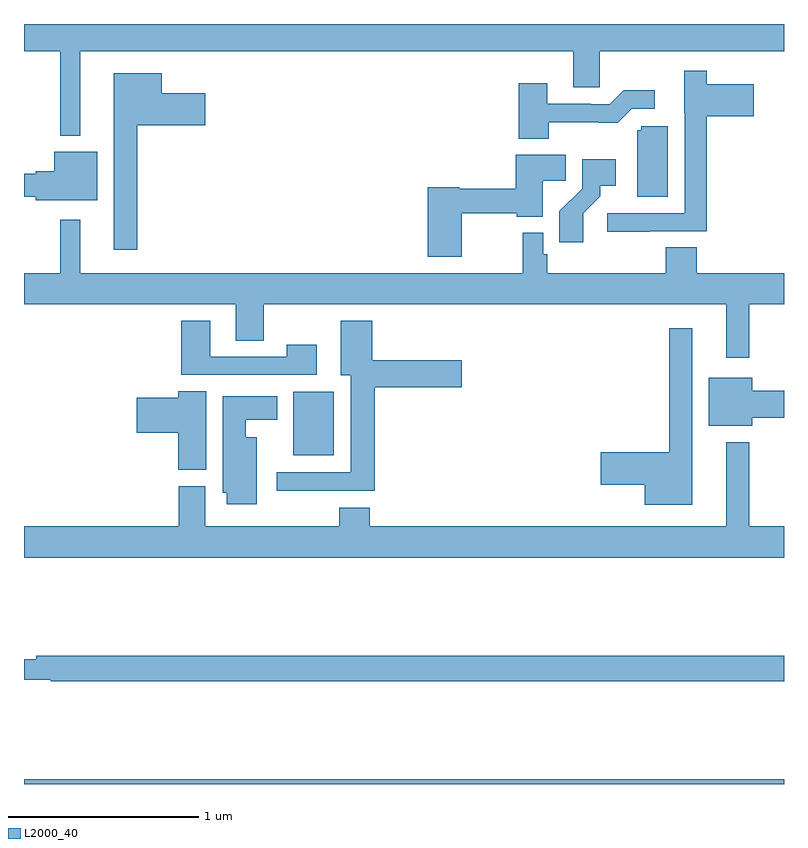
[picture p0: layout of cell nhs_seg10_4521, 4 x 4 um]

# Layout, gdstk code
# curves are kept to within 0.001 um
import gdstk
lib = gdstk.Library(unit=1e-6, precision=1e-09)
def R(c, l, rs):  # rectangles x0, y0, x1, y1
    for r in rs: c.add(gdstk.rectangle(r[:2], r[2:], *l))
def P(c, l, *ps):  # polygons
    for p in ps: c.add(gdstk.Polygon(p, *l))
L2000_40 = (2000, 40)

nhs_seg10_4521 = lib.new_cell('nhs_seg10_4521')
R(nhs_seg10_4521, L2000_40, [(369,1256.5,373,1256.524), (370.418,1258.229,370.63,1258.564)])
P(nhs_seg10_4521, L2000_40, [(369.295,1260.356),(371.891,1260.356),(371.891,1260.166),(372.03,1260.166),(372.03,1260.356),(373,1260.356),(373,1260.5),(369,1260.5),(369,1260.356),(369.191,1260.356),(369.191,1259.912),(369.295,1259.912)],
  [(372.293,1259.409),(372.593,1259.409),(372.593,1260.014),(372.841,1260.014),(372.841,1260.184),(372.593,1260.184),(372.593,1260.253),(372.476,1260.253),(372.476,1260.03),(372.477,1260.03),(372.477,1259.505),(372.069,1259.505),(372.069,1259.407),(372.293,1259.407)],
  [(369.595,1259.966),(369.955,1259.966),(369.955,1260.136),(369.724,1260.136),(369.724,1260.241),(369.473,1260.241),(369.473,1259.313),(369.595,1259.313)],
  [(371.763,1259.982),(372.125,1259.981),(372.198,1260.054),(372.319,1260.054),(372.319,1260.151),(372.157,1260.151),(372.084,1260.078),(371.984,1260.078),(371.984,1260.081),(371.755,1260.081),(371.755,1260.187),(371.603,1260.187),(371.603,1259.897),(371.763,1259.897)],
  [(372.388,1259.961),(372.249,1259.961),(372.249,1259.94),(372.227,1259.94),(372.227,1259.592),(372.388,1259.592)],
  [(369.385,1259.827),(369.158,1259.827),(369.158,1259.726),(369.062,1259.726),(369.062,1259.713),(369,1259.713),(369,1259.591),(369.062,1259.591),(369.062,1259.573),(369.385,1259.573)],
  [(371.304,1259.505),(371.594,1259.505),(371.594,1259.486),(371.731,1259.486),(371.731,1259.674),(371.852,1259.674),(371.852,1259.812),(371.587,1259.812),(371.587,1259.633),(371.292,1259.633),(371.292,1259.641),(371.126,1259.641),(371.126,1259.274),(371.304,1259.274)],
  [(371.944,1259.503),(372.034,1259.593),(372.034,1259.648),(372.115,1259.648),(372.115,1259.788),(371.937,1259.788),(371.937,1259.633),(371.818,1259.514),(371.818,1259.352),(371.944,1259.352)],
  [(372.817,1259.024),(373,1259.024),(373,1259.188),(372.542,1259.188),(372.542,1259.324),(372.377,1259.324),(372.377,1259.188),(371.753,1259.188),(371.753,1259.289),(371.733,1259.289),(371.733,1259.401),(371.625,1259.401),(371.625,1259.188),(369.295,1259.188),(369.295,1259.47),(369.191,1259.47),(369.191,1259.188),(369,1259.188),(369,1259.024),(370.115,1259.024),(370.115,1258.834),(370.263,1258.834),(370.263,1259.024),(372.695,1259.024),(372.695,1258.743),(372.817,1258.743)],
  [(370.847,1258.589),(371.305,1258.589),(371.305,1258.731),(370.834,1258.731),(370.834,1258.939),(370.667,1258.939),(370.667,1258.652),(370.721,1258.652),(370.721,1258.14),(370.329,1258.14),(370.329,1258.043),(370.847,1258.043)],
  [(370.54,1258.813),(370.384,1258.813),(370.384,1258.749),(369.979,1258.749),(369.979,1258.939),(369.827,1258.939),(369.827,1258.653),(370.54,1258.653)],
  [(372.517,1258.9),(372.396,1258.9),(372.396,1258.247),(372.036,1258.247),(372.036,1258.076),(372.266,1258.076),(372.266,1257.971),(372.517,1257.971)],
  [(372.832,1258.427),(373,1258.427),(373,1258.569),(372.832,1258.569),(372.832,1258.639),(372.605,1258.639),(372.605,1258.385),(372.832,1258.385)],
  [(369.958,1258.568),(369.812,1258.568),(369.812,1258.532),(369.594,1258.532),(369.594,1258.349),(369.812,1258.349),(369.812,1258.153),(369.958,1258.153)],
  [(370.225,1258.324),(370.168,1258.324),(370.168,1258.418),(370.333,1258.418),(370.333,1258.54),(370.046,1258.54),(370.046,1258.032),(370.067,1258.032),(370.067,1257.972),(370.225,1257.972)],
  [(373,1257.856),(372.817,1257.856),(372.817,1258.3),(372.695,1258.3),(372.695,1257.856),(370.82,1257.856),(370.82,1257.955),(370.66,1257.955),(370.66,1257.856),(369.955,1257.856),(369.955,1258.068),(369.815,1258.068),(369.815,1257.856),(369,1257.856),(369,1257.692),(373,1257.692)],
  [(373,1257.176),(369.064,1257.176),(369.064,1257.157),(369,1257.157),(369,1257.048),(369.14,1257.048),(369.14,1257.04),(373,1257.04)])

lib.write_gds('nhs_seg10_4521.gds')
